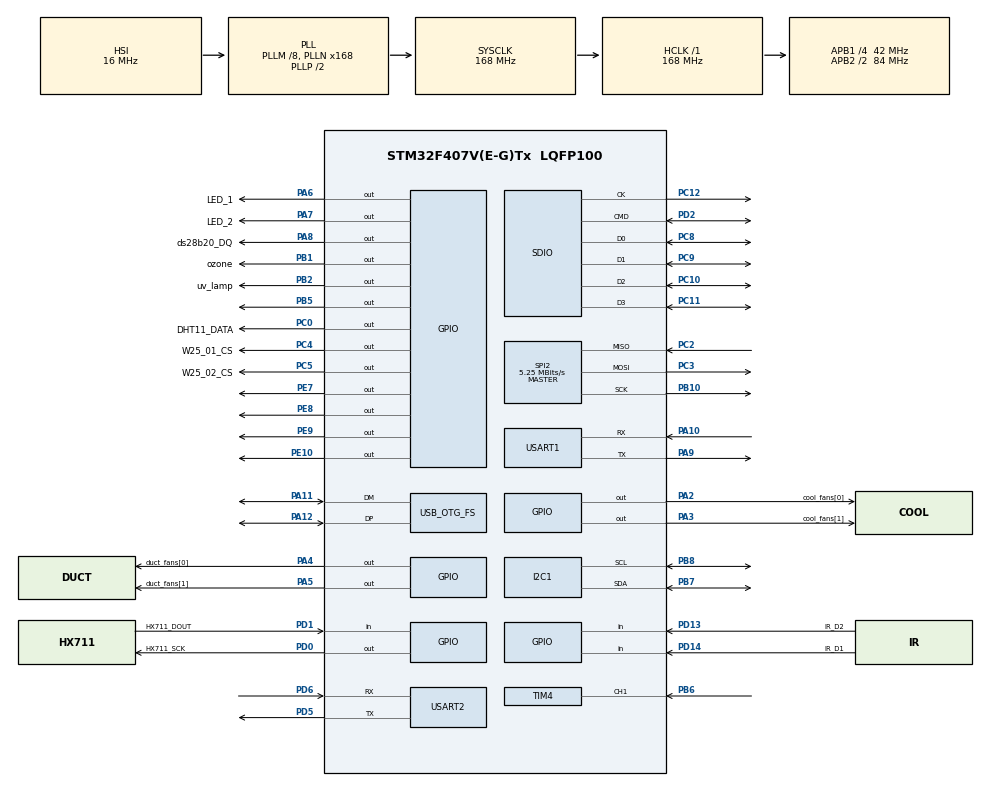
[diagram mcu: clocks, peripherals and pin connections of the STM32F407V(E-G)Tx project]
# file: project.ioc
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Dma.Request0=SDIO_RX
Dma.Request1=SDIO_TX
Dma.SDIO_RX.0.Direction=DMA_PERIPH_TO_MEMORY
Dma.SDIO_RX.0.FIFOMode=DMA_FIFOMODE_ENABLE
Dma.SDIO_RX.0.FIFOThreshold=DMA_FIFO_THRESHOLD_FULL
Dma.SDIO_RX.0.Instance=DMA2_Stream3
Dma.SDIO_RX.0.MemBurst=DMA_MBURST_INC4
Dma.SDIO_RX.0.MemDataAlignment=DMA_MDATAALIGN_WORD
Dma.SDIO_RX.0.MemInc=DMA_MINC_ENABLE
Dma.SDIO_RX.0.Mode=DMA_PFCTRL
Dma.SDIO_RX.0.PeriphBurst=DMA_PBURST_INC4
Dma.SDIO_RX.0.PeriphDataAlignment=DMA_PDATAALIGN_WORD
Dma.SDIO_RX.0.PeriphInc=DMA_PINC_DISABLE
Dma.SDIO_RX.0.Priority=DMA_PRIORITY_HIGH
Dma.SDIO_TX.1.Direction=DMA_MEMORY_TO_PERIPH
Dma.SDIO_TX.1.FIFOMode=DMA_FIFOMODE_ENABLE
Dma.SDIO_TX.1.FIFOThreshold=DMA_FIFO_THRESHOLD_FULL
Dma.SDIO_TX.1.Instance=DMA2_Stream6
Dma.SDIO_TX.1.MemBurst=DMA_MBURST_INC4
Dma.SDIO_TX.1.MemDataAlignment=DMA_MDATAALIGN_WORD
Dma.SDIO_TX.1.MemInc=DMA_MINC_ENABLE
Dma.SDIO_TX.1.Mode=DMA_PFCTRL
Dma.SDIO_TX.1.PeriphBurst=DMA_PBURST_INC4
Dma.SDIO_TX.1.PeriphDataAlignment=DMA_PDATAALIGN_WORD
Dma.SDIO_TX.1.PeriphInc=DMA_PINC_DISABLE
Dma.SDIO_TX.1.Priority=DMA_PRIORITY_HIGH
FATFS._MAX_SS=4096
FATFS._VOLUMES=3
FREERTOS.Tasks01=Task_Monitor,24,512,StartMonitorTask,Default,NULL,Dynamic,NULL,NULL;Task_LED,24,128,StartLEDTask,Default,NULL,Dynamic,NULL,NULL;Task_Sonar,24,256,StartSonarTask,Default,NULL,Dynamic,NULL,NULL;Task_Humidity,24,256,StartHumidityTask,Default,NULL,Dynamic,NULL,NULL;Task_I2C,24,256,StartI2cTask,Default,NULL,Dynamic,NULL,NULL;Task_USB,32,1024,StartUSBTask,Default,NULL,Dynamic,NULL,NULL;Task_BSEC,24,1024,StartBSECTask,Default,NULL,Dynamic,NULL,NULL;Task_Enose,24,512,StartEnoseTask,Default,NULL,Dynamic,NULL,NULL;Task_Flash,16,384,StartFlashTask,Default,NULL,Dynamic,NULL,NULL;Task_Prototype,8,1024,StartPrototypeTask,Default,NULL,Dynamic,NULL,NULL
FREERTOS.configTOTAL_HEAP_SIZE=32768 
Mcu.Family=STM32F4
Mcu.Name=STM32F407V(E-G)Tx
Mcu.Package=LQFP100
NVIC.DMA2_Stream3_IRQn=true\:5\:0\:false\:false\:true\:true\:false\:true\:true
NVIC.DMA2_Stream6_IRQn=true\:5\:0\:false\:false\:true\:true\:false\:true\:true
NVIC.OTG_FS_IRQn=true\:5\:0\:false\:false\:true\:true\:true\:true\:true
NVIC.PriorityGroup=NVIC_PRIORITYGROUP_4
NVIC.SDIO_IRQn=true\:5\:0\:false\:false\:true\:true\:true\:true\:true
NVIC.TIM4_IRQn=true\:5\:0\:false\:false\:true\:true\:true\:true\:true
NVIC.TIM7_IRQn=true\:15\:0\:false\:false\:true\:false\:false\:true\:true
NVIC.TimeBase=TIM7_IRQn
NVIC.TimeBaseIP=TIM7
NVIC.USART2_IRQn=true\:5\:0\:false\:false\:true\:true\:true\:true\:true
PA10.Mode=Asynchronous
PA10.Signal=USART1_RX
PA11.Mode=Device_Only
PA11.Signal=USB_OTG_FS_DM
PA12.Mode=Device_Only
PA12.Signal=USB_OTG_FS_DP
PA13.Mode=Serial_Wire
PA13.Signal=SYS_JTMS-SWDIO
PA14.Mode=Serial_Wire
PA14.Signal=SYS_JTCK-SWCLK
PA2.GPIO_Label=cool_fans[0]
PA2.PinState=GPIO_PIN_SET
PA2.Signal=GPIO_Output
PA3.GPIO_Label=cool_fans[1]
PA3.PinState=GPIO_PIN_SET
PA3.Signal=GPIO_Output
PA4.GPIO_Label=duct_fans[0]
PA4.PinState=GPIO_PIN_SET
PA4.Signal=GPIO_Output
PA5.GPIO_Label=duct_fans[1]
PA5.PinState=GPIO_PIN_SET
PA5.Signal=GPIO_Output
PA6.GPIO_Label=LED_1
PA6.PinState=GPIO_PIN_SET
PA6.Signal=GPIO_Output
PA7.GPIO_Label=LED_2
PA7.PinState=GPIO_PIN_SET
PA7.Signal=GPIO_Output
PA8.GPIO_Label=ds28b20_DQ
PA8.GPIO_ModeDefaultOutputPP=GPIO_MODE_OUTPUT_OD
PA8.GPIO_PuPd=GPIO_NOPULL
PA8.GPIO_Speed=GPIO_SPEED_FREQ_VERY_HIGH
PA8.PinState=GPIO_PIN_SET
PA8.Signal=GPIO_Output
PA9.Mode=Asynchronous
PA9.Signal=USART1_TX
PB1.GPIO_Label=ozone
PB1.PinState=GPIO_PIN_SET
PB1.Signal=GPIO_Output
PB10.Mode=Full_Duplex_Master
PB10.Signal=SPI2_SCK
PB2.GPIO_Label=uv_lamp
PB2.PinState=GPIO_PIN_SET
PB2.Signal=GPIO_Output
PB5.GPIO_ModeDefaultOutputPP=GPIO_MODE_OUTPUT_PP
PB5.GPIO_PuPd=GPIO_NOPULL
PB5.Signal=GPIO_Output
PB6.Signal=S_TIM4_CH1
PB7.Mode=I2C
PB7.Signal=I2C1_SDA
PB8.Mode=I2C
PB8.Signal=I2C1_SCL
PC0.GPIO_Label=DHT11_DATA
PC0.GPIO_PuPd=GPIO_PULLUP
PC0.GPIO_Speed=GPIO_SPEED_FREQ_HIGH
PC0.PinState=GPIO_PIN_SET
PC0.Signal=GPIO_Output
PC10.Mode=SD_4_bits_Wide_bus
PC10.Signal=SDIO_D2
PC11.Mode=SD_4_bits_Wide_bus
PC11.Signal=SDIO_D3
PC12.Mode=SD_4_bits_Wide_bus
PC12.Signal=SDIO_CK
PC2.Mode=Full_Duplex_Master
PC2.Signal=SPI2_MISO
PC3.Mode=Full_Duplex_Master
PC3.Signal=SPI2_MOSI
PC4.GPIO_Label=W25_01_CS
PC4.PinState=GPIO_PIN_SET
PC4.Signal=GPIO_Output
PC5.GPIO_Label=W25_02_CS
PC5.PinState=GPIO_PIN_SET
PC5.Signal=GPIO_Output
PC8.Mode=SD_4_bits_Wide_bus
PC8.Signal=SDIO_D0
PC9.Mode=SD_4_bits_Wide_bus
PC9.Signal=SDIO_D1
PD0.GPIO_Label=HX711_SCK
PD0.Signal=GPIO_Output
PD1.GPIO_Label=HX711_DOUT
PD1.GPIO_PuPd=GPIO_PULLUP
PD1.Signal=GPIO_Input
PD13.GPIO_Label=IR_D2
PD13.Signal=GPIO_Input
PD14.GPIO_Label=IR_D1
PD14.Signal=GPIO_Input
PD2.Mode=SD_4_bits_Wide_bus
PD2.Signal=SDIO_CMD
PD5.Mode=Asynchronous
PD5.Signal=USART2_TX
PD6.Mode=Asynchronous
PD6.Signal=USART2_RX
PE10.PinState=GPIO_PIN_SET
PE10.Signal=GPIO_Output
PE7.PinState=GPIO_PIN_SET
PE7.Signal=GPIO_Output
PE8.PinState=GPIO_PIN_SET
PE8.Signal=GPIO_Output
PE9.PinState=GPIO_PIN_SET
PE9.Signal=GPIO_Output
ProjectManager.HeapSize=0x800
ProjectManager.StackSize=0x800
ProjectManager.TargetToolchain=CMake
RCC.48MHZClocksFreq_Value=48000000
RCC.AHBFreq_Value=168000000
RCC.APB1CLKDivider=RCC_HCLK_DIV4
RCC.APB1Freq_Value=42000000
RCC.APB1TimFreq_Value=84000000
RCC.APB2CLKDivider=RCC_HCLK_DIV2
RCC.APB2Freq_Value=84000000
RCC.APB2TimFreq_Value=168000000
RCC.CortexFreq_Value=168000000
RCC.HCLKFreq_Value=168000000
RCC.HSE_VALUE=25000000
RCC.HSI_VALUE=16000000
RCC.LSE_VALUE=32768
RCC.PLLM=8
RCC.PLLN=168
RCC.PLLQ=7
RCC.PLLSource=RCC_PLLSOURCE_HSI
RCC.PLLSourceVirtualString=RCC_PLLSOURCE_HSI
RCC.SYSCLKFreq_VALUE=168000000
RCC.SYSCLKSource=RCC_SYSCLKSOURCE_PLLCLK
RCC.VCOOutputFreq_Value=336000000
SH.S_TIM4_CH1.0=TIM4_CH1,Input_Capture1_from_TI1
SPI2.BaudRatePrescaler=SPI_BAUDRATEPRESCALER_8
SPI2.CalculateBaudRate=5.25 MBits/s
SPI2.Direction=SPI_DIRECTION_2LINES
SPI2.Mode=SPI_MODE_MASTER
SPI2.VirtualType=VM_MASTER
STMicroelectronics.X-CUBE-AI.10.1.0.ActivationBufferSizeList=7696
STMicroelectronics.X-CUBE-AI.10.1.0.ActivationBuffers=pool0
STMicroelectronics.X-CUBE-AI.10.1.0.ActivationNames=pool0
STMicroelectronics.X-CUBE-AI.10.1.0.ActivationSizes=AI_ENOSE_NETWORK_DATA_ACTIVATION_1_SIZE
STMicroelectronics.X-CUBE-AI.10.1.0.HeapSize=0x800
STMicroelectronics.X-CUBE-AI.10.1.0.InternalRamActivationBufferMaxSize=AI_ENOSE_NETWORK_DATA_ACTIVATIONS_SIZE
STMicroelectronics.X-CUBE-AI.10.1.0.LatestDirectoryUsed-7499e517499c426f45680c80b3c2eb218c09685f8b4a9fb42e58bd0bae05b086=C\:\\Users\\12645\\Desktop\\New_Folder\\STM32_project\\AI_Training\\artifacts\\smoke
STMicroelectronics.X-CUBE-AI.10.1.0.MaximumNumberOfInputLayer=1
STMicroelectronics.X-CUBE-AI.10.1.0.MaximumNumberOfOutputLayer=1
STMicroelectronics.X-CUBE-AI.10.1.0.MaximumSizeOfInputLayer=1
STMicroelectronics.X-CUBE-AI.10.1.0.MaximumSizeOfOutputLayer=1
STMicroelectronics.X-CUBE-AI.10.1.0.ModelActualCompression-7499e517499c426f45680c80b3c2eb218c09685f8b4a9fb42e58bd0bae05b086=0.0
STMicroelectronics.X-CUBE-AI.10.1.0.ModelCompression-7499e517499c426f45680c80b3c2eb218c09685f8b4a9fb42e58bd0bae05b086=None
STMicroelectronics.X-CUBE-AI.10.1.0.ModelFlashOccupation-7499e517499c426f45680c80b3c2eb218c09685f8b4a9fb42e58bd0bae05b086=20472
STMicroelectronics.X-CUBE-AI.10.1.0.ModelHashList=7499e517499c426f45680c80b3c2eb218c09685f8b4a9fb42e58bd0bae05b086
STMicroelectronics.X-CUBE-AI.10.1.0.ModelKind-7499e517499c426f45680c80b3c2eb218c09685f8b4a9fb42e58bd0bae05b086=TFLITE
STMicroelectronics.X-CUBE-AI.10.1.0.ModelMacc-7499e517499c426f45680c80b3c2eb218c09685f8b4a9fb42e58bd0bae05b086=62344
STMicroelectronics.X-CUBE-AI.10.1.0.ModelName-7499e517499c426f45680c80b3c2eb218c09685f8b4a9fb42e58bd0bae05b086=enose_network
STMicroelectronics.X-CUBE-AI.10.1.0.ModelNameList=enose_network
STMicroelectronics.X-CUBE-AI.10.1.0.ModelRamOccupation-7499e517499c426f45680c80b3c2eb218c09685f8b4a9fb42e58bd0bae05b086=7696
STMicroelectronics.X-CUBE-AI.10.1.0.ModelStructureFile-7499e517499c426f45680c80b3c2eb218c09685f8b4a9fb42e58bd0bae05b086=AI_Training/artifacts/smoke/enose_integration_smoke_float32.tflite
STMicroelectronics.X-CUBE-AI.10.1.0.ModelType-7499e517499c426f45680c80b3c2eb218c09685f8b4a9fb42e58bd0bae05b086=STM32Cube.AI MCU runtime
STMicroelectronics.X-CUBE-AI.10.1.0.ReadyForCodeGeneration=true
STMicroelectronics.X-CUBE-AI.10.1.0.StackSize=0x800
STMicroelectronics.X-CUBE-AI.10.1.0.WorkingBufferStartAddrList=0xFFFFFFFF
STMicroelectronics.X-CUBE-AI.10.1.0.XAaCUBEAaAICcArtificialOoIntelligenceJjCore=true
STMicroelectronics.X-CUBE-AI.10.1.0.copyWeightToRam-7499e517499c426f45680c80b3c2eb218c09685f8b4a9fb42e58bd0bae05b086=false
STMicroelectronics.X-CUBE-AI.10.1.0.customLayerConfigEnabled-7499e517499c426f45680c80b3c2eb218c09685f8b4a9fb42e58bd0bae05b086=false
STMicroelectronics.X-CUBE-AI.10.1.0.noOnnxIoTranspose-7499e517499c426f45680c80b3c2eb218c09685f8b4a9fb42e58bd0bae05b086=false
STMicroelectronics.X-CUBE-AI.10.1.0.useInputAllocation-7499e517499c426f45680c80b3c2eb218c09685f8b4a9fb42e58bd0bae05b086=true
STMicroelectronics.X-CUBE-AI.10.1.0.useOutputAllocation-7499e517499c426f45680c80b3c2eb218c09685f8b4a9fb42e58bd0bae05b086=true
TIM4.Channel-Input_Capture1_from_TI1=TIM_CHANNEL_1
TIM4.Prescaler=84-1
USART1.VirtualMode=VM_ASYNC
USART2.VirtualMode=VM_ASYNC
USB_DEVICE.CLASS_NAME_FS=CDC
USB_DEVICE.VirtualMode-CDC_FS=Cdc
USB_DEVICE.VirtualModeFS=Cdc_FS
USB_OTG_FS.VirtualMode=Device_Only
VP_FATFS_VS_Generic.Mode=User_defined
VP_FATFS_VS_SDIO.Mode=SDIO
VP_FREERTOS_VS_CMSIS_V2.Mode=CMSIS_V2
VP_STMicroelectronics.X-CUBE-AI_VS_ArtificialOoIntelligenceJjXAaCUBEAaAI_10.1.0.Mode=ArtificialOoIntelligenceJjXAaCUBEAaAI
VP_SYS_VS_tim7.Mode=TIM7
VP_TIM4_VS_ClockSourceINT.Mode=Internal
VP_USB_DEVICE_VS_USB_DEVICE_CDC_FS.Mode=CDC_FS
board=custom

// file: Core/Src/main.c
/* USER CODE BEGIN Header */
/**
  ******************************************************************************
  * @file           : main.c
  * @brief          : Main program body
  ******************************************************************************
  * @attention
  *
  * Copyright (c) 2026 STMicroelectronics.
  * All rights reserved.
  *
  * This software is licensed under terms that can be found in the LICENSE file
  * in the root directory of this software component.
  * If no LICENSE file comes with this software, it is provided AS-IS.
  *
  ******************************************************************************
  */

/* USER CODE END Header */
#include "main.h"
#include "cmsis_os.h"
#include "dma.h"
#include "fatfs.h"
#include "i2c.h"
#include "sdio.h"
#include "spi.h"
#include "tim.h"
#include "usart.h"
#include "usb_device.h"
#include "gpio.h"

/* USER CODE BEGIN Includes */
#include "cmsis_os2.h"
#include "FreeRTOS.h"
#include "task.h"
#include <stdbool.h>
#include <stdio.h>
#include <string.h>

#include "ds18b20.h"
#include "hcsr04.h"
#include "hx711.h"
#include "dht11.h"

#include "system_data.h"

/* USER CODE END Includes */

/* USER CODE BEGIN PTD */

static uint8_t k230_rx_byte;
static char k230_rx_buf[128];
static volatile uint16_t k230_rx_len;
static volatile uint8_t k230_rx_ready;
static uint32_t k230_last_valid_tick;

/* USER CODE END PTD */

/* USER CODE BEGIN PM */

/*
 * USART2 中断只做定长内存操作。
 * strstr/sscanf 等字符串解析放到普通任务执行，避免中断占用时间过长。
 */
void HAL_UART_RxCpltCallback(UART_HandleTypeDef *huart)
{
    if (huart->Instance == USART2) {
        /*
         * 上一帧尚未被任务处理时丢弃新字节，确保任务解析期间缓冲区
         * 不会被中断改写。K230 会周期上报，丢一帧优于解析半帧。
         */
        if (k230_rx_ready == 0U) {
            if (k230_rx_byte == '\n') {
                if (k230_rx_len > 0U) {
                    k230_rx_buf[k230_rx_len] = '\0';
                    k230_rx_ready = 1U;
                }
                k230_rx_len = 0U;
            }
            else if (k230_rx_byte != '\r') {
                if (k230_rx_len < (sizeof(k230_rx_buf) - 1U)) {
                    k230_rx_buf[k230_rx_len++] = (char)k230_rx_byte;
                } else {
                    /* 超长帧作废，等待下一行重新同步。 */
                    k230_rx_len = 0U;
                }
            }
        }

        (void)HAL_UART_Receive_IT(&huart2, &k230_rx_byte, 1U);
    }
}

void HAL_UART_ErrorCallback(UART_HandleTypeDef *huart)
{
    if (huart->Instance == USART2) {
        /*
         * 杜邦线接触抖动可能产生帧错/溢出。丢弃当前半帧并重新挂接
         * 单字节接收，避免一次串口噪声让 K230 链路永久停止。
         */
        k230_rx_len = 0U;
        k230_rx_ready = 0U;
        (void)HAL_UART_Receive_IT(&huart2, &k230_rx_byte, 1U);
    }
}

/* USER CODE END PM */

void SystemClock_Config(void);
void MX_FREERTOS_Init(void);

/* USER CODE BEGIN 0 */

static uint16_t K230_ClampCount(int value)
{
    if (value < 0) {
        return 0U;
    }
    if (value > 65535) {
        return 65535U;
    }
    return (uint16_t)value;
}

void K230_ProcessPendingFrame(void)
{
    uint32_t now = HAL_GetTick();

    if (k230_rx_ready != 0U) {
        int apple = 0;
        int banana = 0;
        int orange = 0;
        char *apple_ptr = strstr(k230_rx_buf, "\"apple\":");
        char *banana_ptr = strstr(k230_rx_buf, "\"banana\":");
        char *orange_ptr = strstr(k230_rx_buf, "\"orange\":");
        bool command_ok =
            strstr(k230_rx_buf, "\"cmd\":\"AI_FRUIT\"") != NULL ||
            strstr(k230_rx_buf, "\"cmd\": \"AI_FRUIT\"") != NULL;
        bool values_ok =
            apple_ptr != NULL &&
            banana_ptr != NULL &&
            orange_ptr != NULL &&
            sscanf(apple_ptr + 8, "%d", &apple) == 1 &&
            sscanf(banana_ptr + 9, "%d", &banana) == 1 &&
            sscanf(orange_ptr + 9, "%d", &orange) == 1;

        /*
         * status 最后写入，相当于发布标志。只有命令和三个计数全部合法，
         * 才用这一帧覆盖上一份视觉结果。
         */
        if (command_ok && values_ok) {
            taskENTER_CRITICAL();
            sysData.k230.apple = K230_ClampCount(apple);
            sysData.k230.banana = K230_ClampCount(banana);
            sysData.k230.orange = K230_ClampCount(orange);
            sysData.k230.status = 1;
            k230_last_valid_tick = now;
            taskEXIT_CRITICAL();
        }

        taskENTER_CRITICAL();
        k230_rx_ready = 0U;
        taskEXIT_CRITICAL();
    }

    /* 连续 3 秒没有收到完整合法帧时标记离线，避免永久显示旧数据。 */
    if (sysData.k230.status == 1 &&
        (uint32_t)(now - k230_last_valid_tick) >= 3000U) {
        sysData.k230.status = 0;
    }
}

// printf 重定向代码 (把标准输出定向到 huart1)
#ifdef __GNUC__
#define PUTCHAR_PROTOTYPE int __io_putchar(int ch)
#else
#define PUTCHAR_PROTOTYPE int fputc(int ch, FILE *f)
#endif

PUTCHAR_PROTOTYPE
{
    // 将数据通过 USART1 发送给电脑
    HAL_UART_Transmit(&huart1, (uint8_t *)&ch, 1, HAL_MAX_DELAY);
    return ch;
}

/* USER CODE END 0 */

int main(void)
{

  /* MCU Configuration--------------------------------------------------------*/

  /* Reset of all peripherals, Initializes the Flash interface and the Systick. */
  HAL_Init();

  /* Configure the system clock */
  SystemClock_Config();

  /* Initialize all configured peripherals */
  MX_GPIO_Init();
  MX_DMA_Init();
  MX_USART1_UART_Init();
  MX_TIM4_Init();
  MX_I2C1_Init();
  MX_SPI2_Init();
  MX_SDIO_SD_Init();
  MX_FATFS_Init();
  MX_USART2_UART_Init();
  /* USER CODE BEGIN 2 */

   /*
    * 两片 W25Q64 的 CS 都是低有效。CubeMX 已配置默认高电平，
    * 这里再次拉高，作为以后重新生成代码时的启动保护。
    */
   HAL_GPIO_WritePin(W25_01_CS_GPIO_Port, W25_01_CS_Pin, GPIO_PIN_SET);
   HAL_GPIO_WritePin(W25_02_CS_GPIO_Port, W25_02_CS_Pin, GPIO_PIN_SET);
   HAL_UART_Receive_IT(&huart2, &k230_rx_byte, 1);

  /* USER CODE END 2 */

  /* Init scheduler */
  osKernelInitialize();

  /* Call init function for freertos objects (in cmsis_os2.c) */
  MX_FREERTOS_Init();

  /* Start scheduler */
  osKernelStart();

  /* We should never get here as control is now taken by the scheduler */

  /* Infinite loop */
  while (1)
  {

  }
}

void SystemClock_Config(void)
{
  RCC_OscInitTypeDef RCC_OscInitStruct = {0};
  RCC_ClkInitTypeDef RCC_ClkInitStruct = {0};

  /** Configure the main internal regulator output voltage
  */
  __HAL_RCC_PWR_CLK_ENABLE();
  __HAL_PWR_VOLTAGESCALING_CONFIG(PWR_REGULATOR_VOLTAGE_SCALE1);

  /** Initializes the RCC Oscillators according to the specified parameters
  * in the RCC_OscInitTypeDef structure.
  */
  RCC_OscInitStruct.OscillatorType = RCC_OSCILLATORTYPE_HSI;
  RCC_OscInitStruct.HSIState = RCC_HSI_ON;
  RCC_OscInitStruct.HSICalibrationValue = RCC_HSICALIBRATION_DEFAULT;
  RCC_OscInitStruct.PLL.PLLState = RCC_PLL_ON;
  RCC_OscInitStruct.PLL.PLLSource = RCC_PLLSOURCE_HSI;
  RCC_OscInitStruct.PLL.PLLM = 8;
  RCC_OscInitStruct.PLL.PLLN = 168;
  RCC_OscInitStruct.PLL.PLLP = RCC_PLLP_DIV2;
  RCC_OscInitStruct.PLL.PLLQ = 7;
  if (HAL_RCC_OscConfig(&RCC_OscInitStruct) != HAL_OK)
  {
    Error_Handler();
  }

  /** Initializes the CPU, AHB and APB buses clocks
  */
  RCC_ClkInitStruct.ClockType = RCC_CLOCKTYPE_HCLK|RCC_CLOCKTYPE_SYSCLK
                              |RCC_CLOCKTYPE_PCLK1|RCC_CLOCKTYPE_PCLK2;
  RCC_ClkInitStruct.SYSCLKSource = RCC_SYSCLKSOURCE_PLLCLK;
  RCC_ClkInitStruct.AHBCLKDivider = RCC_SYSCLK_DIV1;
  RCC_ClkInitStruct.APB1CLKDivider = RCC_HCLK_DIV4;
  RCC_ClkInitStruct.APB2CLKDivider = RCC_HCLK_DIV2;

  if (HAL_RCC_ClockConfig(&RCC_ClkInitStruct, FLASH_LATENCY_5) != HAL_OK)
  {
    Error_Handler();
  }
}

/* USER CODE BEGIN 4 */

// 定时器捕获回调
void HAL_TIM_IC_CaptureCallback(TIM_HandleTypeDef *htim) {
    HCSR04_CaptureCallback(htim);
}

/* USER CODE END 4 */

void HAL_TIM_PeriodElapsedCallback(TIM_HandleTypeDef *htim)
{
  if (htim->Instance == TIM7)
  {
    HAL_IncTick();
  }
  /* USER CODE BEGIN Callback 1 */

  //  在这里咱们超声波的溢出回调代码！
  HCSR04_TmrOverflowCallback(htim);

  /* USER CODE END Callback 1 */
}

void Error_Handler(void)
{
  __disable_irq();
  while (1)
  {
  }
}

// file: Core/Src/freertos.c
/* USER CODE BEGIN Header */
/**
  ******************************************************************************
  * File Name          : freertos.c
  * Description        : Code for freertos applications
  ******************************************************************************
  * @attention
  *
  * Copyright (c) 2026 STMicroelectronics.
  * All rights reserved.
  *
  * This software is licensed under terms that can be found in the LICENSE file
  * in the root directory of this software component.
  * If no LICENSE file comes with this software, it is provided AS-IS.
  *
  ******************************************************************************
  */
/* USER CODE END Header */

#include "FreeRTOS.h"
#include "task.h"
#include "main.h"
#include "cmsis_os.h"

/* USER CODE BEGIN Includes */

#include <stdio.h>
#include "i2c.h"
#include "tim.h"
#include "usart.h"
#include "dma.h"
#include "sdio.h"

#include "ds18b20.h"
#include "hcsr04.h"

#include "hx711.h"
#include "fridge_weight_engine.h"

#include "dht11.h"

#include "sgp40.h"
#include "ens160_aht21.h"

#include "bme68x.h"
#include "bme688_port.h"
#include "bme68x_defs.h"
#include "bme688_bsec_app.h"

#include "w25q64.h"
#include "flash_manager.h"
#include "flash_worker.h"
#include "sample_library.h"
#include "sys_time.h"
#include "fatfs.h"
#include "ff.h"
#include "system_data.h"

#include "usbd_cdc_if.h"

#include "control.h"
#include "usb_reporter.h"

#include "enose.h"
#include "enose_frame_buffer.h"
#include "ai_feature_extractor.h"
#include "prototype_head.h"
#include "prototype_worker.h"
#include "data_export.h"

/* USER CODE END Includes */

/* USER CODE BEGIN Variables */

extern TIM_HandleTypeDef htim4;

#define ENOSE_TASK_PERIOD_MS  1000U
#define ENOSE_LOG_INTERVAL_MS 60000U

// [新增]: 定义 I2C 的公共钥匙（互斥锁）
osMutexId_t i2c_mutex;
osMutexId_t flash_mutex;

extern SystemData_t sysData;
FridgeWeightEngine_t g_weight_engine;
static volatile uint8_t s_usb_device_ready;

/* USER CODE END Variables */
/* Definitions for Task_Monitor */
osThreadId_t Task_MonitorHandle;
const osThreadAttr_t Task_Monitor_attributes = {
  .name = "Task_Monitor",
  .stack_size = 512 * 4,
  .priority = (osPriority_t) osPriorityNormal,
};
/* Definitions for Task_LED */
osThreadId_t Task_LEDHandle;
const osThreadAttr_t Task_LED_attributes = {
  .name = "Task_LED",
  .stack_size = 128 * 4,
  .priority = (osPriority_t) osPriorityNormal,
};
/* Definitions for Task_Sonar */
osThreadId_t Task_SonarHandle;
const osThreadAttr_t Task_Sonar_attributes = {
  .name = "Task_Sonar",
  .stack_size = 256 * 4,
  .priority = (osPriority_t) osPriorityNormal,
};
/* Definitions for Task_Humidity */
osThreadId_t Task_HumidityHandle;
const osThreadAttr_t Task_Humidity_attributes = {
  .name = "Task_Humidity",
  .stack_size = 256 * 4,
  .priority = (osPriority_t) osPriorityNormal,
};
/* Definitions for Task_I2C */
osThreadId_t Task_I2CHandle;
const osThreadAttr_t Task_I2C_attributes = {
  .name = "Task_I2C",
  .stack_size = 256 * 4,
  .priority = (osPriority_t) osPriorityNormal,
};
/* Definitions for Task_USB */
osThreadId_t Task_USBHandle;
const osThreadAttr_t Task_USB_attributes = {
  .name = "Task_USB",
  .stack_size = 1024 * 4,
  .priority = (osPriority_t) osPriorityAboveNormal,
};
/* Definitions for Task_BSEC */
osThreadId_t Task_BSECHandle;
const osThreadAttr_t Task_BSEC_attributes = {
  .name = "Task_BSEC",
  .stack_size = 1024 * 4,
  .priority = (osPriority_t) osPriorityNormal,
};
/* Definitions for Task_Enose */
osThreadId_t Task_EnoseHandle;
const osThreadAttr_t Task_Enose_attributes = {
  .name = "Task_Enose",
  .stack_size = 512 * 4,
  .priority = (osPriority_t) osPriorityNormal,
};
/* Definitions for Task_Flash */
osThreadId_t Task_FlashHandle;
const osThreadAttr_t Task_Flash_attributes = {
  .name = "Task_Flash",
  .stack_size = 384 * 4,
  .priority = (osPriority_t) osPriorityBelowNormal,
};
/* Definitions for Task_Prototype */
osThreadId_t Task_PrototypeHandle;
const osThreadAttr_t Task_Prototype_attributes = {
  .name = "Task_Prototype",
  .stack_size = 1024 * 4,
  .priority = (osPriority_t) osPriorityLow,
};

/* USER CODE BEGIN FunctionPrototypes */

static void System_Startup_Routine(void);

/* USER CODE END FunctionPrototypes */

void StartMonitorTask(void *argument);
void StartLEDTask(void *argument);
void StartSonarTask(void *argument);
void StartHumidityTask(void *argument);
void StartI2cTask(void *argument);
void StartUSBTask(void *argument);
void StartBSECTask(void *argument);
void StartEnoseTask(void *argument);
void StartFlashTask(void *argument);
void StartPrototypeTask(void *argument);

extern void MX_USB_DEVICE_Init(void);
void MX_FREERTOS_Init(void); /* (MISRA C 2004 rule 8.1) */

void MX_FREERTOS_Init(void) {
  /* USER CODE BEGIN Init */

  /*
   * Restore all Flash-backed state before any task can observe sysData.
   * Keep this call inside the CubeMX user section.
   */
  System_Startup_Routine();

  /* USER CODE END Init */

  /* USER CODE BEGIN RTOS_MUTEX */
  /* add mutexes, ... */

// [新增]: i2c互斥锁
  const osMutexAttr_t i2c_mutex_attr = {
    .name = "i2c_mutex",
  };
  i2c_mutex = osMutexNew(&i2c_mutex_attr);

  const osMutexAttr_t flash_mutex_attr = {
    .name = "flash_mutex",
  };
  flash_mutex = osMutexNew(&flash_mutex_attr);

  /* USER CODE END RTOS_MUTEX */

  /* Create the thread(s) */
  /* creation of Task_Monitor */
  Task_MonitorHandle = osThreadNew(StartMonitorTask, NULL, &Task_Monitor_attributes);

  /* creation of Task_LED */
  Task_LEDHandle = osThreadNew(StartLEDTask, NULL, &Task_LED_attributes);

  /* creation of Task_Sonar */
  Task_SonarHandle = osThreadNew(StartSonarTask, NULL, &Task_Sonar_attributes);

  /* creation of Task_Humidity */
  Task_HumidityHandle = osThreadNew(StartHumidityTask, NULL, &Task_Humidity_attributes);

  /* creation of Task_I2C */
  Task_I2CHandle = osThreadNew(StartI2cTask, NULL, &Task_I2C_attributes);

  /* creation of Task_USB */
  Task_USBHandle = osThreadNew(StartUSBTask, NULL, &Task_USB_attributes);

  /* creation of Task_BSEC */
  Task_BSECHandle = osThreadNew(StartBSECTask, NULL, &Task_BSEC_attributes);

  /* creation of Task_Enose */
  Task_EnoseHandle = osThreadNew(StartEnoseTask, NULL, &Task_Enose_attributes);

  /* creation of Task_Flash */
  Task_FlashHandle = osThreadNew(StartFlashTask, NULL, &Task_Flash_attributes);

  /* creation of Task_Prototype */
  Task_PrototypeHandle = osThreadNew(StartPrototypeTask, NULL, &Task_Prototype_attributes);

  /* USER CODE BEGIN RTOS_THREADS */
  /*
   * CubeMX 已负责创建两个任务。这里只初始化任务运行前需要的资源，
   * 禁止再次 osThreadNew，否则会产生两个 Flash/原型任务。
   */
  (void)FlashWorker_Init();
  (void)DataExport_Init();
  PrototypeWorker_AttachTask(Task_PrototypeHandle);
  /* USER CODE END RTOS_THREADS */

}

void StartMonitorTask(void *argument)
{
  /* init code for USB_DEVICE */
  MX_USB_DEVICE_Init();
  /* USER CODE BEGIN StartMonitorTask */
  (void)argument;
  /*
   * Cube 把 USB Device 初始化放在本普通优先级任务里，而 Task_USB 是
   * AboveNormal。初始化完成后再发布门闩，禁止高优先级任务提前解引用
   * 尚未创建的 CDC class data。
   */
  s_usb_device_ready = 1U;
  TickType_t last_wake_tick = xTaskGetTickCount();
  /* Infinite loop */
  for(;;)
  {

    // 1. 打印系统状态
    System_PrintStatus(&sysData);

    // 2. 固定每 5 秒打印一次，不把本轮串口输出耗时累积到下一周期
    vTaskDelayUntil(&last_wake_tick, pdMS_TO_TICKS(5000U));

  }
  /* USER CODE END StartMonitorTask */
}

void StartLEDTask(void *argument)
{
  /* USER CODE BEGIN StartLEDTask */
  (void)argument;

  /* Infinite loop */
  for(;;)
  {
    // 这个任务的唯一职责就是让两个 LED 灯交替闪烁，表示系统正在运行中
    // 让 LED1 亮，LED2 灭
      HAL_GPIO_WritePin(GPIOA, GPIO_PIN_6, GPIO_PIN_RESET);
      HAL_GPIO_WritePin(GPIOA, GPIO_PIN_7, GPIO_PIN_SET);
      osDelay(500); // 延时 500 毫秒，交出 CPU

      // 让 LED1 灭，LED2 亮
      HAL_GPIO_WritePin(GPIOA, GPIO_PIN_6, GPIO_PIN_SET);
      HAL_GPIO_WritePin(GPIOA, GPIO_PIN_7, GPIO_PIN_RESET);
      osDelay(500); // 延时 500 毫秒，交出 CPU

  }
  /* USER CODE END StartLEDTask */
}

void StartSonarTask(void *argument)
{
  /* USER CODE BEGIN StartSonarTask */
  (void)argument;
  /* Infinite loop */

  HCSR04_Init(&htim4, TIM_CHANNEL_1); // 先把定时器句柄和通道传给超声波模块
  TickType_t last_wake_tick = xTaskGetTickCount();
  for(;;)
  {

    // ==========================================
      // 读取红外对射模块 (D0)
      // ==========================================
      // 根据你模块板子上的旋钮调校，通常有遮挡时 D0 输出高电平 (1) 或低电平 (0)
      // 如果你发现屏幕上显示的 CLEAR 和 BLOCKED 是反的，在 HAL_GPIO_ReadPin 前面加个感叹号 ! 即可反转逻辑

      sysData.ir.ir1_blocked = HAL_GPIO_ReadPin(GPIOD, IR_D1_Pin);
      sysData.ir.ir2_blocked = HAL_GPIO_ReadPin(GPIOD, IR_D2_Pin);
      /*
       * 两路对射采用保守 OR 策略：任一路仍被遮挡就认为门未完全打开；
       * 只有两路都无遮挡时 status=0，电子鼻才进入开门暂停状态。
       * 这里不改变原来的快速采样频率和信号极性。
       */
      sysData.ir.status =
          sysData.ir.ir2_blocked || sysData.ir.ir1_blocked;

    // 2. 触发超声波测距 (绑定 PB5)
    HCSR04_StartTrigger(GPIOB, GPIO_PIN_5);

    // 3. 等待声波返回 (强制等 60ms)
    osDelay(60);

    float temp_dist  = 0.0f; // 临时变量，存储测距结果
    // 4. 获取距离；FAST/状态看板负责对外报告，不在 2 Hz 任务里刷屏
    float distance = HCSR04_GetDistance();
    if(distance > 0.0f)
    {
        temp_dist  = distance;
    }
    else
    {
        temp_dist = -1.0f; // 错误码
    }

    sysData.ui.distance = temp_dist;

    // 5. 固定 500ms 周期；上面的 60ms 回波等待包含在本周期内
    vTaskDelayUntil(&last_wake_tick, pdMS_TO_TICKS(500U));

  }
  /* USER CODE END StartSonarTask */
}

void StartHumidityTask(void *argument)
{
  /* USER CODE BEGIN StartHumidityTask */
  (void)argument;

// === 1. 统一在这里进行所有慢速传感器的初始化 ===
  DHT11_Init(GPIOC, GPIO_PIN_0);
  DS18B20_Init(); // 假设你的 DS18B20 在 PA8，请根据实际情况修改
  HX711_Init(GPIOD, GPIO_PIN_0, GPIOD, GPIO_PIN_1);

  // 重量引擎已在 System_Startup_Routine() 中初始化并恢复锚点，禁止在此清空
  int32_t slow_sensor_counter = 0; // 慢速传感器计数器
  TickType_t last_wake_tick = xTaskGetTickCount();

/* Infinite loop */
for(;;)
{
    uint32_t now_sec = HAL_GetTick() / 1000;

    /*
     * UART2 中断只收集 K230 字节；字符串解析放在这个 5 Hz 普通任务，
     * 既能及时刷新视觉结果，也不会占用 FAST 所在的高优先级 USB 任务。
     */
    K230_ProcessPendingFrame();

    // =========================================================
    //  频段 A：[ 200ms 高频 (5Hz) ] - 称重滤波、消抖与开门阶跃捕获
    // =========================================================
    float raw_w = HX711_GetWeight();

    if (raw_w <= -900.0f) {
        // 捕获到 HX711 底层超时/断线故障码
        sysData.hx711.status = -1;
    } else {
        // 1. 喂入中值+滑动窗口复合滤波器 (消除压缩机震动抖动)
        taskENTER_CRITICAL();
        float filtered_w = FridgeWeight_UpdateFilter(&g_weight_engine, raw_w);

        // 2. 实时捕获开门状态下的拿放动作 (`sysData.ir.status == 0` 为开门)
        uint8_t door_is_open = (sysData.ir.status == 0);
        sysData.hx711.weight =
            (filtered_w < 0.0f) ? 0.0f : filtered_w;
        sysData.hx711.status = 1;
        FridgeWeight_ProcessDoorOpen(&g_weight_engine, door_is_open, now_sec);
        taskEXIT_CRITICAL();
    }

    // =========================================================
    //  频段 B：[ 30秒 低频 ] - DHT11 & DS18B20 环境温湿度采样
    //  (200ms * 150 次 = 30000ms = 30秒)
    // =========================================================
    slow_sensor_counter++;
    if (slow_sensor_counter >= 150)
    {
        slow_sensor_counter = 0; // 清零重新计数

        // 1. 智能测 DS18B20
        float t = DS18B20_GetTemp();
        taskENTER_CRITICAL();
        if (t <= -900.0f) {
            sysData.ds18b20.status = -1;
        } else {
            sysData.ds18b20.status = 1;
            sysData.ds18b20.temp = t;
        }
        taskEXIT_CRITICAL();

        // 2. 测 DHT11
        uint8_t hum = 0, temp_dht = 0;
        int8_t dht_status = DHT11_Read_Data(&hum, &temp_dht);
        taskENTER_CRITICAL();
        sysData.dht11.status = dht_status;
        if(dht_status == 1) {
            sysData.dht11.hum = hum;
            sysData.dht11.temp = temp_dht;
        }
        taskEXIT_CRITICAL();
    }

    // =========================================================
    // 核心心跳：锁定 200ms 休眠，保证称重高频滤波响应！
    // =========================================================
    vTaskDelayUntil(&last_wake_tick, pdMS_TO_TICKS(200U));
}
  /* USER CODE END StartHumidityTask */
}

void StartI2cTask(void *argument)
{
  /* USER CODE BEGIN StartI2cTask */
  (void)argument;

// SGP40/ENV 初始化函数直接访问 HAL，因此在外层持有总线锁。
extern osMutexId_t i2c_mutex; // 确保能引用到外部定义的锁
osMutexAcquire(i2c_mutex, osWaitForever);

SGP40_Init(&hi2c1);
ENV_Module_Init(&hi2c1);

osMutexRelease(i2c_mutex);

/*
 * BME688 驱动的 read/write 回调内部自己持有 i2c_mutex。
 * 禁止在这里套外层锁，否则非递归 mutex 会被同一任务二次获取并永久自锁。
 */
sysData.bme688.status =
    BME688_Port_Init(&hi2c1) == 1 ? 0 : -1;

uint32_t task_tick = 0; // 用于 BME688 初始化失败后的低频重试
TickType_t last_wake_tick = xTaskGetTickCount();

/* Infinite loop */
for(;;)
{
task_tick++; // 心跳+1

/*
 * BME688 上电偶发未就绪时每 5 秒重试；不阻塞 ENS160/SGP40 的 1 Hz 采样。
 * BSEC 任务会等待 IsReady，绝不会访问半初始化的 bme_dev。
 */
if (!BME688_Port_IsReady() && (task_tick % 5U) == 0U) {
    sysData.bme688.status =
        BME688_Port_Init(&hi2c1) == 1 ? 0 : -1;
}

// =========================================================
//  频段 1：[ 1Hz ] - 冰箱环境精密监控
// =========================================================
{
    float env_temp = 0.0f;
    float env_hum = 0.0f;
    uint16_t env_tvoc = 0U;
    uint16_t env_eco2 = 0U;
    uint8_t env_aqi = 0U;
    uint16_t sgp_raw = 0U;
    int32_t sgp_voc_index = 0;
    int8_t env_status;
    int8_t sgp_status;

    // [新增锁]: 拿钥匙，准备独占 I2C！
    osMutexAcquire(i2c_mutex, osWaitForever);

    /*
     * 先写局部变量，I2C 全部完成后再一次性发布到 sysData。
     * 这样电子鼻不会读到“温度已更新但 TVOC 仍是上一秒”的半帧数据。
     */
    env_status = ENV_Module_ReadAll(
        &env_temp,
        &env_hum,
        &env_tvoc,
        &env_eco2,
        &env_aqi
    );

    // 2. 只要返回值不是 -1，就说明 AHT21 没掉线，拿到了真实的冰箱温湿度！
    if (env_status != -1)
    {
        // 喂 SGP40 (用新鲜出炉的真值做底层补偿)
        sgp_status = SGP40_GetVOCIndex(
            env_hum,
            env_temp,
            &sgp_raw,
            &sgp_voc_index
        );
    }
    else
    {
        //故障处理：AHT21 彻底没拿到数据
        // 既不喂假数据，也不触发补偿，防止 SGP40 算法崩溃
        sgp_status = -2;
    }

    // [新增锁]: 操作完毕，开门交出 I2C 钥匙！
    osMutexRelease(i2c_mutex);

    /* 发布完整的一秒传感器快照；临界区内不执行任何 HAL 调用。 */
    taskENTER_CRITICAL();
    sysData.env.aht_temp = env_temp;
    sysData.env.aht_hum = env_hum;
    sysData.env.ens_tvoc = env_tvoc;
    sysData.env.ens_eco2 = env_eco2;
    sysData.env.ens_aqi = env_aqi;
    sysData.env.status = env_status;
    if (env_status == -2) {
        sysData.env.ens_warmup_sec++;
    } else if (env_status == 1) {
        sysData.env.ens_warmup_sec = 0U;
    }

    sysData.sgp40.status = sgp_status;
    if (sgp_status == 1) {
        sysData.sgp40.raw = sgp_raw;
        sysData.sgp40.voc_index = sgp_voc_index;
    }
    taskEXIT_CRITICAL();
}

// =========================================================
//  频段 3：[ 低频区 - 30秒/次 ]
// 专供：BME688 (测气压、环境底噪气体阻值)
// =========================================================
/*if (task_tick % 30 == 0)
{
 sysData.bme688.status = BME688_Port_Read(
     &sysData.bme688.temp,
     &sysData.bme688.hum,
     &sysData.bme688.press,
     &sysData.bme688.gas_res
 );
}*/

// =========================================================
// [新增逻辑]: 心跳清零机制，实现 60 秒的固定轮回
// =========================================================
if (task_tick >= 60)
{
    task_tick = 0;
}

// =========================================================
// 任务底层心跳：严格锁定 1 秒钟休眠
// 所有的传感器，全靠这 1 秒钟的心跳来驱动！
// =========================================================
vTaskDelayUntil(&last_wake_tick, pdMS_TO_TICKS(1000U));

}
  /* USER CODE END StartI2cTask */
}

void StartUSBTask(void *argument)
{
  /* USER CODE BEGIN StartUSBTask */
  /* Infinite loop */
   (void)argument;
  TickType_t last_wake_tick = xTaskGetTickCount();

  while (s_usb_device_ready == 0U) {
      osDelay(10U);
  }

  // 初始化配置
  sysData.ozone_is_locked = 0;

  /*
   * Reporter 默认把 SLOW 设为 10 秒；FAST 和 USB 指令处理固定为 20 ms。
   * 两个周期相互独立，不能再用 1 秒任务延时把“50 Hz FAST”降成 1 Hz。
   */
  USB_Reporter_Init();

  for(;;)
  {

      if (usb_rx_ready == 1) {
          USB_Command_Parser(usb_rx_buf); // 调用刚才封装的专属函数
          usb_rx_ready = 0;               // 清理现场，接收下一波
      }

      Control_Update_Routine();

      //3. 呼叫通讯大队 (智能分发 JSON 快慢信号)
      USB_Reporter_Routine();

      // 4. 固定 50 Hz，vTaskDelayUntil 可避免每轮执行耗时累积成周期漂移。
      vTaskDelayUntil(&last_wake_tick, pdMS_TO_TICKS(20));

      }

  /* USER CODE END StartUSBTask */
}

void StartBSECTask(void *argument)
{
  /* USER CODE BEGIN StartBSECTask */

  /*
   * Task_I2C 负责初始化 bme_dev。两个任务由调度器并发启动，
   * 所以必须等初始化完成，避免 BSEC 抢先访问空设备结构。
   */
  while (!BME688_Port_IsReady()) {
    osDelay(100);
  }

  // BME688_BSEC_Task 内部自带 while(1)，正常情况下不会返回。
  BME688_BSEC_Task(argument);

  /* Infinite loop */
  for(;;)
  {
    osDelay(10000);
  }
  /* USER CODE END StartBSECTask */
}

/* USER CODE BEGIN Header_StartEnoseTask */
/**
 * @brief 电子鼻主运行任务 (运行周期: 1000ms / 1Hz)
 * @param argument: FreeRTOS 任务传入参数
 */
/* USER CODE END Header_StartEnoseTask */
void StartEnoseTask(void *argument)
{
  /* USER CODE BEGIN StartEnoseTask */
  (void)argument;

  // 电子鼻及其 Flash 参考集已在创建任务前完成初始化和恢复
  uint32_t last_tick = HAL_GetTick();
  uint32_t last_log_tick = last_tick;
  TickType_t last_wake_tick = xTaskGetTickCount();

  /* Infinite loop */
  for(;;)
  {
    uint32_t now_ms = HAL_GetTick();

    // 计算距上一拍的时间间隔（单位：分钟）
    float dt_min = (float)(now_ms - last_tick) / 60000.0f;
    if (dt_min < 1e-4f) {
        dt_min = 1.0f / 60.0f; // 兜底默认 1 秒 (1/60 分钟)
    }
    last_tick = now_ms;

    // 3. 生成一帧同步数据，并写入 1 Hz RAM 环形缓冲
    // [0] SGP40  SRAW (原始阻值/码值)
    // [1] ENS160 TVOC
    // [2] ENS160 eCO2
    // [3] BME688 gas_res
    // [4] HX711  weight (经过滑动滤波后的当前物理总重)
    ENoseFrame_t frame = {0};
    frame.timestamp_ms = now_ms;
    frame.raw[0] = (float)sysData.sgp40.raw;
    frame.raw[1] = (float)sysData.env.ens_tvoc;
    frame.raw[2] = (float)sysData.env.ens_eco2;
    frame.raw[3] = (float)sysData.bme688.gas_res;
    frame.raw[4] = sysData.hx711.weight;
    frame.door_state = (uint8_t)sysData.ir.status;

    if (sysData.sgp40.status == 1) {
      frame.valid_mask |= ENOSE_FRAME_VALID_SGP40;
    }
    if (sysData.env.status == 1) {
      frame.valid_mask |= ENOSE_FRAME_VALID_ENS_TVOC;
      frame.valid_mask |= ENOSE_FRAME_VALID_ENS_ECO2;
    }
    if (sysData.bme688.status == 1) {
      frame.valid_mask |= ENOSE_FRAME_VALID_BME688;
    }
    if (sysData.hx711.status == 1) {
      frame.valid_mask |= ENOSE_FRAME_VALID_HX711;
    }

    ENoseFrameBuffer_Push(&frame);
    if (sysData.flash2.status == 1) {
      (void)FlashWorker_EnqueueHistoryFrame(&frame);
    }

    /*
     * Cube.AI 周期推理已交给低优先级 Task_Prototype。
     * 本任务只负责严格的 1 Hz 同步采样、状态机和 Flash 入队，避免正式模型
     * 变大后推理耗时抖动原始数据时间轴。
     */

    // 4. 只有五通道完整有效时才允许状态机吸收本帧并更新判定
    ENose_State_t current_state;
    if (frame.valid_mask == ENOSE_FRAME_VALID_ALL) {
        current_state =
            ENose_Tick(&sysData.enose, frame.raw, now_ms, dt_min);
    } else {
        /*
         * 任一输入掉线时禁止把旧值/零值送入基线与规则分类。
         * UNKNOWN 会在 Control_ENose_Tick() 中触发执行器安全关停。
         */
        sysData.enose.state = ENOSE_UNKNOWN;
        current_state = ENOSE_UNKNOWN;
    }

    // 5. 根据同一份电子鼻状态更新自动控制策略
    Control_ENose_Tick();

    // 6. 仅在数据有效、判定有效且 Flash 在线时定时追加日志
    if (sysData.flash1.status == 1 &&
        current_state != ENOSE_UNKNOWN &&
        frame.valid_mask == ENOSE_FRAME_VALID_ALL &&
        (uint32_t)(now_ms - last_log_tick) >= ENOSE_LOG_INTERVAL_MS) {
        bool queued = FlashWorker_EnqueueEnoseLog(
            &sysData.enose,
            sysData.env.aht_temp,
            sysData.env.aht_hum,
            sysData.bme688.food_spoilage_risk,
            sysData.enose.actual_total_loss_g
        );
        if (queued) {
          last_log_tick = now_ms;
        }
    }

    // 固定 1Hz 调度，避免任务执行时间逐拍累积到采样周期
    vTaskDelayUntil(&last_wake_tick, pdMS_TO_TICKS(ENOSE_TASK_PERIOD_MS));
  }
  /* USER CODE END StartEnoseTask */
}

void StartFlashTask(void *argument)
{
  /* USER CODE BEGIN StartFlashTask */
  /*
   * CubeMX 管理任务句柄、优先级和栈；真正的无限循环放在 Worker 中，
   * 这样以后重新生成代码仍会保留此 USER CODE。
   */
  FlashWorker_Task(argument);
  /* USER CODE END StartFlashTask */
}

void StartPrototypeTask(void *argument)
{
  /* USER CODE BEGIN StartPrototypeTask */
  /* 低优先级等待重建请求，2 秒合并连续的样本编辑操作。 */
  PrototypeWorker_Task(argument);
  /* USER CODE END StartPrototypeTask */
}

/* USER CODE BEGIN Application */

static void System_Startup_Routine(void)
{
  float restored_weight_anchor = 0.0f;

  SysTime_Init();

  /*
   * SPI2/GPIO 已由 main() 初始化，此处只绑定器件并完成健康检查。
   * Flash 1 保存系统配置、电子鼻参考集和环形日志。
   */
  W25Q64_Init();

  sysData.flash1.id = W25Q64_ReadID(0);
  if (sysData.flash1.id == 0xEF4017U) {
    sysData.flash1.rw_test = W25Q64_SanityCheck(0);
    sysData.flash1.status = (sysData.flash1.rw_test == 1) ? 1 : 0;
  } else {
    sysData.flash1.status = 0;
  }

  sysData.flash2.id = W25Q64_ReadID(1);
  if (sysData.flash2.id == 0xEF4017U) {
    sysData.flash2.rw_test = W25Q64_SanityCheck(1);
    sysData.flash2.status = (sysData.flash2.rw_test == 1) ? 1 : 0;
  } else {
    sysData.flash2.status = 0;
  }

  // 先建立确定的 RAM 默认状态，再用有效 Flash 数据覆盖
  FridgeWeight_Init(&g_weight_engine);
  /*
   * 两路 IR 第一次真实采样前先按“门关闭”处理，防止同优先级任务启动
   * 顺序变化时，称重任务把上电初始重量误识别为一次开门放入动作。
   */
  sysData.ir.status = 1;
  ENose_Init(&sysData.enose);
  sysData.enose.scale[4] = 75.0f;
  ENose_AttachWeightEngine(&sysData.enose, &g_weight_engine);
  ENoseFrameBuffer_Init();

  /*
   * 在任务开始运行前创建 Cube.AI 实例。这样 StartEnoseTask 第一次做实时
   * 分类时网络一定已经就绪；初始化失败只会禁用动态分类，不阻塞其他功能。
   */
  (void)AIFeatureExtractor_Init();

  if (sysData.flash1.status == 1) {
    FlashMgr_Init();

    if (FlashMgr_LoadSysState(NULL, NULL, &restored_weight_anchor)) {
      g_weight_engine.base_anchor_weight = restored_weight_anchor;
      g_weight_engine.last_stable_w = restored_weight_anchor;
      g_weight_engine.last_sample_w = restored_weight_anchor;
    }

    FlashMgr_LoadEnoseClasses(&sysData.enose);
    (void)SampleLibrary_Init(AI_FEATURE_EXTRACTOR_VERSION);
    (void)PrototypeHead_Init(AI_FEATURE_EXTRACTOR_VERSION);
  }
}

/* USER CODE END Application */
